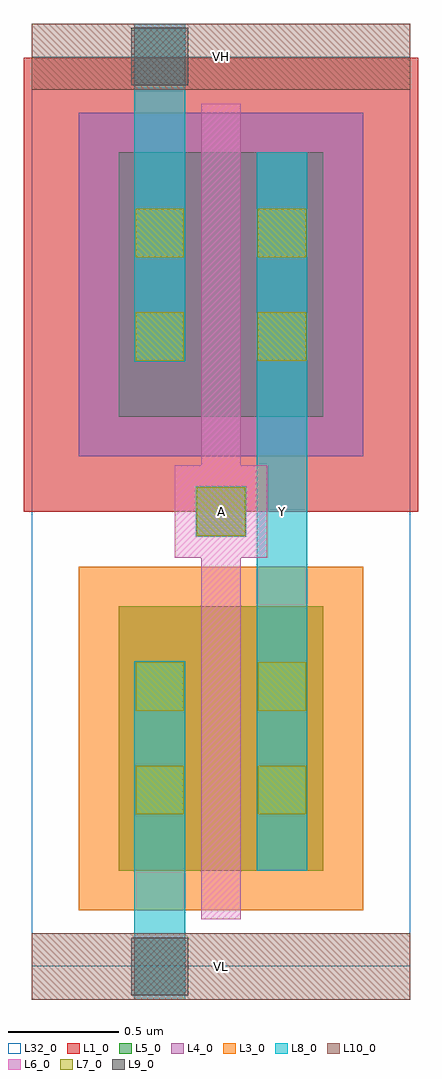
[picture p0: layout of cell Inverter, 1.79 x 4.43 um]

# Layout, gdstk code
import gdstk
lib = gdstk.Library(unit=1e-6, precision=1e-09)
def R(c, l, rs):  # rectangles x0, y0, x1, y1
    for r in rs: c.add(gdstk.rectangle(r[:2], r[2:], *l))
L1_0 = (1, 0)
L3_0 = (3, 0)
L4_0 = (4, 0)
L5_0 = (5, 0)
L6_0 = (6, 0)
L7_0 = (7, 0)
L8_0 = (8, 0)
L9_0 = (9, 0)
L10_0 = (10, 0)
L32_0 = (32, 0)

inverter = lib.new_cell('Inverter')
R(inverter, L1_0, [(-0.43,-0.43,1.36,1.63)])
R(inverter, L3_0, [(-0.18,-2.24,1.11,-0.68)])
R(inverter, L4_0, [(-0.18,-0.18,1.11,1.38)])
R(inverter, L5_0, [(0,-2.06,0.93,-0.86), (0,0,0.93,1.2)])
R(inverter, L6_0, [(0.375,-2.28,0.555,1.42), (0.255,-0.64,0.675,-0.22)])
R(inverter, L7_0, [(0.077,-1.805,0.297,-1.585), (0.632,-1.805,0.852,-1.585), (0.077,-1.335,0.297,-1.115), (0.632,-1.335,0.852,-1.115), (0.355,-0.54,0.575,-0.32), (0.077,0.255,0.297,0.475), (0.632,0.255,0.852,0.475), (0.077,0.725,0.297,0.945), (0.632,0.725,0.852,0.945)])
R(inverter, L8_0, [(0.072,-2.645,0.302,-1.11), (0.628,-2.06,0.857,1.2), (0.35,-0.545,0.58,-0.315), (0.072,0.25,0.302,1.785)])
R(inverter, L9_0, [(0.057,-2.625,0.317,-2.365), (0.057,1.505,0.317,1.765)])
R(inverter, L10_0, [(-0.395,-2.645,1.325,-2.345), (-0.395,1.485,1.325,1.785)])
R(inverter, L32_0, [(-0.395,-2.495,1.325,1.635)])
inverter.add(gdstk.Label('VH', (0.465,1.635), layer=34, texttype=0))
inverter.add(gdstk.Label('VL', (0.465,-2.495), layer=34, texttype=0))
inverter.add(gdstk.Label('A', (0.465,-0.43), layer=34, texttype=0))
inverter.add(gdstk.Label('Y', (0.742,-0.43), layer=34, texttype=0))

lib.write_gds('Inverter.gds')
